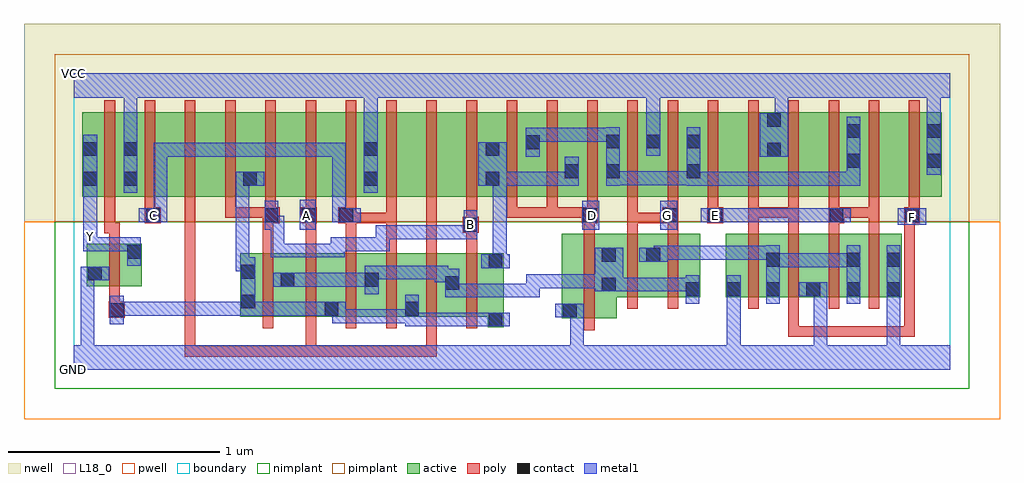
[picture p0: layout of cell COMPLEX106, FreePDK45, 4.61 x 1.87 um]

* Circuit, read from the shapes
.subckt COMPLEX106 A B C D E F G GND VCC Y
M1 Y n1 GND VSUBS nfet w=0.2u l=0.05u
M2 n2 B n1 VSUBS nfet w=0.3u l=0.05u m=2
M3 n1 A n2 VSUBS nfet w=0.3u l=0.05u m=2
M4 n2 C n1 VSUBS nfet w=0.3u l=0.05u m=2
M5 n2 D GND VSUBS nfet w=0.4u l=0.05u
M6 n3 G n2 VSUBS nfet w=0.3u l=0.05u m=2
M7 n3 F GND VSUBS nfet w=0.3u l=0.05u m=2
M8 n3 E GND VSUBS nfet w=0.3u l=0.05u m=2
M9 VCC n1 Y n4 pfet w=0.4u l=0.05u
M10 n5 C VCC n4 pfet w=0.4u l=0.05u
M11 n6 A n5 n4 pfet w=0.4u l=0.05u
M12 n1 B n6 n4 pfet w=0.4u l=0.05u
M13 n7 B n1 n4 pfet w=0.4u l=0.05u
M14 n8 A n7 n4 pfet w=0.4u l=0.05u
M15 VCC C n8 n4 pfet w=0.4u l=0.05u
M16 n9 C VCC n4 pfet w=0.4u l=0.05u
M17 n10 A n9 n4 pfet w=0.4u l=0.05u
M18 n1 B n10 n4 pfet w=0.4u l=0.05u
M19 n11 D n1 n4 pfet w=0.4u l=0.05u m=3
M20 VCC G n11 n4 pfet w=0.4u l=0.05u m=2
M21 n12 E n11 n4 pfet w=0.4u l=0.05u
M22 VCC F n12 n4 pfet w=0.4u l=0.05u
M23 n13 F VCC n4 pfet w=0.4u l=0.05u
M24 n11 E n13 n4 pfet w=0.4u l=0.05u
M25 n14 E n11 n4 pfet w=0.4u l=0.05u
M26 VCC F n14 n4 pfet w=0.4u l=0.05u
.ends

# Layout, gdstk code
import gdstk
lib = gdstk.Library(unit=1e-6, precision=1e-09)
def R(c, l, rs):  # rectangles x0, y0, x1, y1
    for r in rs: c.add(gdstk.rectangle(r[:2], r[2:], *l))
def A(c, l, x, y, w, h, nx, ny, dx, dy):  # array of equal rectangles
    R(c, l, [(x+i*dx, y+j*dy, x+i*dx+w, y+j*dy+h) for i in range(nx) for j in range(ny)])
active = (1, 0)
pwell = (2, 0)
nwell = (3, 0)
nimplant = (4, 0)
pimplant = (5, 0)
poly = (9, 0)
contact = (10, 0)
metal1 = (11, 0)
L18_0 = (18, 0)
boundary = (235, 0)

complex106 = lib.new_cell('COMPLEX106')
A(complex106, active, 1.18, 0.25, 0.265, 0.3, 3, 1, 0.19, 0)
A(complex106, active, 3.265, 0.342, 0.265, 0.3, 3, 1, 0.19, 0)
A(complex106, active, 0.455, 0.817, 0.19, 0.4, 3, 1, 0.57, 0)
R(complex106, active, [(1.955,0.2,2.03,0.55), (2.305,0.242,2.565,0.642), (2.305,0.242,2.38,0.642), (0.787,0.25,0.862,0.55), (0.787,0.25,1.047,0.55), (0.972,0.25,1.255,0.55), (1.18,0.25,1.255,0.437), (1.56,0.25,1.635,0.437), (1.75,0.25,2.03,0.55), (0.972,0.33,1.047,0.462), (1.37,0.33,1.445,0.517), (1.75,0.33,1.825,0.447), (2.49,0.342,2.775,0.642), (2.7,0.342,2.96,0.642), (2.885,0.342,2.96,0.642), (3.08,0.342,3.155,0.642), (3.08,0.342,3.34,0.642), (3.265,0.342,3.34,0.557), (3.455,0.342,3.53,0.437), (3.645,0.342,3.72,0.557), (3.835,0.342,3.91,0.642), (2.49,0.345,2.565,0.58), (2.7,0.345,2.775,0.58), (0.062,0.395,0.137,0.595), (0.062,0.395,0.322,0.595), (0.247,0.395,0.322,0.595), (0.04,0.817,0.115,1.155), (0.04,0.817,0.305,1.217), (0.23,0.817,0.305,1.217), (0.23,0.817,0.455,1.217), (0.645,0.817,0.87,1.217), (0.795,0.817,1.025,1.217), (0.795,0.817,0.87,1.07), (1.215,0.817,1.44,1.217), (1.365,0.817,1.44,1.217), (1.365,0.817,1.595,1.217), (1.785,0.817,2.015,1.217), (1.94,0.817,2.205,1.217), (1.94,0.817,2.015,1.2), (2.13,0.817,2.39,1.217), (2.13,0.817,2.205,1.155), (2.315,0.817,2.585,1.217), (2.315,0.817,2.39,1.07), (2.51,0.817,2.775,1.217), (2.51,0.817,2.585,1.2), (2.7,0.817,2.775,1.217), (2.7,0.817,2.965,1.217), (2.89,0.817,3.115,1.217), (2.89,0.817,2.965,1.155), (3.115,0.817,3.345,1.217), (3.27,0.817,3.345,1.217), (3.27,0.817,3.495,1.217), (3.495,0.817,3.72,1.217), (3.645,0.817,3.875,1.217), (3.645,0.817,3.72,1.165), (3.875,0.817,4.1,1.217), (4.025,0.817,4.1,1.217)])
R(complex106, pwell, [(-0.235,-0.235,4.375,0.7)])
R(complex106, nwell, [(-0.235,0.7,4.375,1.635)])
R(complex106, nimplant, [(-0.09,-0.09,4.23,0.7)])
R(complex106, pimplant, [(-0.09,0.7,4.23,1.49)])
A(complex106, poly, 1.095, 0.195, 0.05, 0.41, 5, 1, 0.19, 0)
A(complex106, poly, 3.185, 0.287, 0.05, 0.41, 4, 1, 0.19, 0)
A(complex106, poly, 1.095, 0.555, 0.05, 0.187, 3, 1, 0.19, 0)
A(complex106, poly, 0.715, 0.717, 0.05, 0.095, 4, 1, 0.19, 0)
A(complex106, poly, 2.045, 0.717, 0.05, 0.095, 3, 1, 0.19, 0)
A(complex106, poly, 2.805, 0.717, 0.05, 0.095, 7, 1, 0.19, 0)
A(complex106, poly, 0.145, 0.762, 0.05, 0.51, 21, 1, 0.19, 0)
R(complex106, poly, [(0.525,0.062,0.575,0.112), (0.525,0.062,0.575,0.112), (0.525,0.062,0.575,0.112), (0.525,0.062,0.575,0.112), (0.525,0.062,0.575,0.112), (0.525,0.062,0.575,0.112), (0.525,0.062,0.575,0.112), (0.525,0.062,0.575,0.112), (0.525,0.062,0.575,0.112), (0.525,0.062,0.707,0.112), (0.525,0.062,0.575,0.812), (0.657,0.062,0.707,0.112), (0.657,0.062,0.707,0.112), (0.657,0.062,0.707,0.112), (0.657,0.062,0.707,0.112), (0.657,0.062,0.707,0.112), (0.657,0.062,0.897,0.112), (0.847,0.062,0.897,0.112), (0.847,0.062,1.145,0.112), (1.095,0.062,1.145,0.112), (1.095,0.062,1.145,0.112), (1.095,0.062,1.145,0.112), (1.095,0.062,1.277,0.112), (1.095,0.062,1.145,0.245), (1.227,0.062,1.277,0.112), (1.227,0.062,1.277,0.112), (1.227,0.062,1.277,0.112), (1.227,0.062,1.467,0.112), (1.417,0.062,1.467,0.112), (1.417,0.062,1.467,0.112), (1.417,0.062,1.467,0.112), (1.417,0.062,1.715,0.112), (1.665,0.062,1.715,0.112), (1.665,0.062,1.715,0.112), (1.665,0.062,1.715,0.112), (1.665,0.062,1.715,0.245), (3.375,0.155,3.425,0.205), (3.375,0.155,3.557,0.205), (3.375,0.155,3.425,0.337), (3.507,0.155,3.557,0.205), (3.507,0.155,3.557,0.205), (3.507,0.155,3.557,0.205), (3.507,0.155,3.772,0.205), (3.722,0.155,3.772,0.205), (3.722,0.155,3.772,0.205), (3.722,0.155,3.772,0.205), (3.722,0.155,3.972,0.205), (3.922,0.155,3.972,0.205), (3.922,0.155,3.972,0.205), (3.922,0.155,3.972,0.205), (3.922,0.155,3.972,0.205), (3.922,0.155,3.972,0.205), (3.922,0.155,3.972,0.205), (3.922,0.155,3.972,0.205), (3.922,0.155,3.972,0.742), (2.41,0.187,2.46,0.697), (0.892,0.195,0.942,0.605), (0.165,0.245,0.24,0.32), (0.167,0.27,0.217,0.39), (2.615,0.287,2.665,0.697), (2.805,0.287,2.855,0.697), (0.167,0.34,0.217,0.65), (0.892,0.555,0.942,0.742), (1.665,0.555,1.715,0.767), (1.855,0.555,1.905,0.697), (0.167,0.6,0.217,0.695), (0.145,0.645,0.195,0.812), (0.145,0.645,0.217,0.695), (1.837,0.647,1.912,0.722), (2.41,0.647,2.46,0.742), (2.615,0.647,2.665,0.742), (2.805,0.647,2.855,0.742), (3.185,0.647,3.235,0.767), (3.375,0.647,3.425,0.767), (3.565,0.647,3.615,0.742), (3.755,0.647,3.805,0.767), (1.855,0.672,1.905,0.812), (0.335,0.692,0.412,0.767), (0.892,0.692,0.972,0.767), (1.072,0.692,1.147,0.767), (1.25,0.692,1.335,0.767), (1.285,0.692,1.525,0.742), (1.475,0.692,1.525,0.742), (1.475,0.692,1.525,0.742), (1.475,0.692,1.525,0.742), (1.475,0.692,1.525,0.812), (2.4,0.692,2.475,0.767), (2.615,0.692,2.665,0.742), (2.615,0.692,2.665,0.742), (2.615,0.692,2.665,0.742), (2.615,0.692,2.665,0.812), (2.615,0.692,2.83,0.742), (2.78,0.692,2.855,0.767), (2.992,0.692,3.067,0.767), (3.565,0.692,3.64,0.767), (3.922,0.692,3.972,0.742), (3.922,0.692,3.972,0.742), (3.922,0.692,3.997,0.767), (0.335,0.717,0.385,0.812), (0.715,0.717,0.765,0.767), (0.715,0.717,0.765,0.767), (0.715,0.717,0.765,0.767), (0.715,0.717,0.942,0.767), (1.665,0.717,1.715,0.812), (1.665,0.717,1.715,0.767), (2.045,0.717,2.095,0.767), (2.045,0.717,2.285,0.767), (2.235,0.717,2.285,0.767), (2.235,0.717,2.285,0.767), (2.235,0.717,2.285,0.767), (2.235,0.717,2.45,0.767), (2.4,0.717,2.45,0.767), (2.4,0.717,2.45,0.767), (3.185,0.717,3.235,0.767), (3.185,0.717,3.235,0.767), (3.185,0.717,3.235,0.767), (3.185,0.717,3.425,0.767), (3.375,0.717,3.425,0.767), (3.59,0.717,3.805,0.767), (3.755,0.717,3.805,0.767), (3.755,0.717,3.805,0.767), (3.755,0.717,3.805,0.767)])
A(complex106, contact, 3.27, 0.347, 0.065, 0.065, 4, 1, 0.19, 0)
A(complex106, contact, 2.515, 1.045, 0.065, 0.065, 3, 1, 0.19, 0)
R(complex106, contact, [(1.96,0.205,2.025,0.27), (2.31,0.247,2.375,0.312), (0.17,0.25,0.235,0.315), (1.185,0.255,1.25,0.32), (1.565,0.255,1.63,0.32), (0.792,0.29,0.857,0.355), (2.89,0.347,2.955,0.412), (3.085,0.347,3.15,0.412), (2.495,0.37,2.56,0.435), (1.755,0.377,1.82,0.442), (0.977,0.392,1.042,0.457), (1.375,0.392,1.44,0.457), (0.067,0.422,0.132,0.487), (0.792,0.43,0.857,0.495), (1.96,0.48,2.025,0.545), (3.27,0.487,3.335,0.552), (3.65,0.487,3.715,0.552), (3.84,0.487,3.905,0.552), (2.495,0.51,2.56,0.575), (2.705,0.51,2.77,0.575), (0.252,0.525,0.317,0.59), (1.842,0.652,1.907,0.717), (0.342,0.697,0.407,0.762), (0.902,0.697,0.967,0.762), (1.077,0.697,1.142,0.762), (1.255,0.697,1.32,0.762), (2.405,0.697,2.47,0.762), (2.785,0.697,2.85,0.762), (2.997,0.697,3.062,0.762), (3.57,0.697,3.635,0.762), (3.927,0.697,3.992,0.762), (0.045,0.87,0.11,0.935), (0.235,0.87,0.3,0.935), (0.8,0.87,0.865,0.935), (1.37,0.87,1.435,0.935), (1.945,0.87,2.01,0.935), (2.32,0.905,2.385,0.97), (2.515,0.905,2.58,0.97), (2.895,0.905,2.96,0.97), (3.65,0.955,3.715,1.02), (4.03,0.955,4.095,1.02), (3.275,1.007,3.34,1.072), (0.045,1.01,0.11,1.075), (0.235,1.01,0.3,1.075), (1.37,1.01,1.435,1.075), (1.945,1.01,2.01,1.075), (2.135,1.042,2.2,1.107), (3.65,1.095,3.715,1.16), (4.03,1.095,4.095,1.16), (3.275,1.147,3.34,1.212)])
R(complex106, metal1, [(0,0,4.14,0.115), (0.032,0.05,0.097,0.115), (0.032,0.05,0.097,0.115), (0.032,0.05,0.097,0.115), (0.032,0.05,0.097,0.115), (0.032,0.05,0.097,0.487), (2.345,0.05,2.41,0.115), (2.345,0.05,2.41,0.115), (2.345,0.05,2.41,0.312), (3.085,0.05,3.15,0.115), (3.085,0.05,3.15,0.115), (3.085,0.05,3.15,0.115), (3.085,0.05,3.15,0.115), (3.085,0.05,3.15,0.377), (3.495,0.05,3.56,0.115), (3.495,0.05,3.56,0.115), (3.495,0.05,3.56,0.115), (3.495,0.05,3.56,0.115), (3.495,0.05,3.56,0.412), (3.84,0.05,3.905,0.377), (1.565,0.205,1.77,0.27), (1.565,0.205,1.63,0.355), (1.705,0.205,1.77,0.27), (1.705,0.205,1.77,0.27), (1.705,0.205,1.77,0.27), (1.705,0.205,1.99,0.27), (1.925,0.205,1.99,0.27), (1.925,0.205,1.99,0.27), (1.925,0.205,2.06,0.27), (0.17,0.215,0.235,0.35), (1.22,0.22,1.492,0.285), (1.22,0.22,1.285,0.32), (1.427,0.22,1.492,0.285), (1.427,0.22,1.492,0.285), (1.427,0.22,1.492,0.285), (1.427,0.22,1.63,0.285), (2.275,0.247,2.41,0.312), (0.17,0.255,0.305,0.32), (0.24,0.255,0.305,0.32), (0.24,0.255,0.442,0.32), (0.377,0.255,0.442,0.32), (0.377,0.255,0.442,0.32), (0.377,0.255,0.442,0.32), (0.377,0.255,0.58,0.32), (0.515,0.255,0.58,0.32), (0.515,0.255,0.58,0.32), (0.515,0.255,0.58,0.32), (0.515,0.255,0.72,0.32), (0.655,0.255,0.72,0.32), (0.655,0.255,0.857,0.32), (0.792,0.255,0.857,0.53), (0.792,0.255,0.857,0.32), (0.792,0.255,0.857,0.32), (0.792,0.255,0.995,0.32), (0.93,0.255,0.995,0.32), (0.93,0.255,1.142,0.32), (1.077,0.255,1.142,0.32), (1.077,0.255,1.215,0.32), (1.15,0.255,1.285,0.32), (1.22,0.255,1.285,0.32), (2.89,0.312,2.955,0.447), (3.085,0.312,3.15,0.447), (3.27,0.312,3.335,0.587), (3.65,0.312,3.715,0.587), (3.84,0.312,3.905,0.587), (3.84,0.312,3.905,0.377), (3.84,0.312,3.905,0.377), (3.84,0.312,3.905,0.377), (3.84,0.312,3.905,0.377), (1.755,0.342,1.82,0.477), (1.755,0.342,1.99,0.407), (1.925,0.342,1.99,0.407), (1.925,0.342,1.99,0.407), (1.925,0.342,1.99,0.407), (1.925,0.342,2.127,0.407), (2.062,0.342,2.127,0.407), (2.062,0.342,2.202,0.407), (2.137,0.342,2.202,0.407), (2.137,0.342,2.202,0.407), (2.137,0.342,2.202,0.45), (3.425,0.347,3.56,0.412), (1.375,0.357,1.44,0.492), (2.46,0.37,2.595,0.575), (2.53,0.37,2.595,0.435), (2.53,0.37,2.595,0.435), (2.53,0.37,2.732,0.435), (2.667,0.37,2.732,0.435), (2.667,0.37,2.732,0.435), (2.667,0.37,2.732,0.435), (2.667,0.37,2.955,0.435), (2.137,0.385,2.32,0.45), (2.255,0.385,2.32,0.45), (2.255,0.385,2.387,0.45), (2.322,0.385,2.387,0.45), (2.322,0.385,2.457,0.45), (2.392,0.385,2.457,0.45), (2.392,0.385,2.525,0.45), (0.942,0.392,1.077,0.457), (1.012,0.392,1.142,0.457), (1.077,0.392,1.142,0.457), (1.077,0.392,1.28,0.457), (1.215,0.392,1.28,0.457), (1.215,0.392,1.28,0.457), (1.215,0.392,1.28,0.457), (1.215,0.392,1.44,0.457), (1.705,0.412,1.82,0.477), (1.705,0.412,1.77,0.492), (0.032,0.422,0.097,0.487), (0.032,0.422,0.097,0.487), (0.032,0.422,0.167,0.487), (1.375,0.427,1.63,0.492), (1.565,0.427,1.63,0.492), (1.565,0.427,1.63,0.492), (1.565,0.427,1.63,0.492), (1.565,0.427,1.77,0.492), (0.765,0.465,0.83,0.935), (0.765,0.465,0.857,0.53), (0.792,0.465,0.857,0.53), (1.925,0.48,2.06,0.545), (1.98,0.48,2.045,0.935), (3.27,0.485,3.462,0.55), (3.397,0.485,3.462,0.55), (3.397,0.485,3.577,0.55), (3.512,0.485,3.577,0.55), (3.512,0.485,3.715,0.55), (3.65,0.485,3.715,0.55), (3.65,0.485,3.715,0.55), (0.252,0.49,0.317,0.625), (2.67,0.51,2.805,0.575), (2.74,0.51,2.805,0.575), (2.74,0.51,2.805,0.585), (2.74,0.52,2.942,0.585), (2.877,0.52,2.942,0.585), (2.877,0.52,2.942,0.585), (2.877,0.52,2.942,0.585), (2.877,0.52,3.097,0.585), (3.032,0.52,3.097,0.585), (3.032,0.52,3.325,0.585), (3.26,0.52,3.325,0.585), (3.26,0.52,3.335,0.585), (0.93,0.53,0.995,0.595), (0.93,0.53,1.132,0.595), (0.93,0.53,0.995,0.727), (1.067,0.53,1.132,0.595), (1.067,0.53,1.28,0.595), (1.215,0.53,1.28,0.595), (1.215,0.53,1.28,0.595), (1.215,0.53,1.28,0.625), (0.045,0.56,0.112,0.697), (0.047,0.56,0.112,0.625), (0.047,0.56,0.112,0.625), (0.047,0.56,0.112,0.625), (0.047,0.56,0.112,0.625), (0.047,0.56,0.317,0.625), (1.215,0.56,1.492,0.625), (1.427,0.56,1.492,0.662), (1.427,0.597,1.492,0.662), (1.427,0.597,1.492,0.682), (1.427,0.617,1.492,0.682), (1.427,0.617,1.492,0.682), (1.427,0.617,1.63,0.682), (1.565,0.617,1.63,0.682), (1.565,0.617,1.767,0.682), (1.702,0.617,1.767,0.682), (1.702,0.617,1.837,0.682), (1.772,0.617,1.837,0.682), (1.772,0.617,1.907,0.682), (1.842,0.617,1.907,0.752), (0.045,0.632,0.11,0.9), (0.902,0.662,0.967,0.797), (0.902,0.662,0.995,0.727), (0.93,0.662,0.995,0.727), (1.067,0.662,1.142,0.802), (2.402,0.662,2.482,0.797), (2.77,0.662,2.85,0.797), (3.892,0.685,4.027,0.762), (0.307,0.697,0.442,0.762), (0.377,0.697,0.442,0.762), (0.377,0.697,0.442,0.762), (0.377,0.697,0.442,0.762), (0.377,0.697,0.442,0.762), (0.377,0.697,0.442,1.072), (1.22,0.697,1.285,0.762), (1.22,0.697,1.285,0.762), (1.22,0.697,1.355,0.762), (1.22,0.697,1.285,1.072), (2.962,0.697,3.097,0.762), (3.032,0.697,3.097,0.762), (3.032,0.697,3.097,0.762), (3.032,0.697,3.325,0.762), (3.26,0.697,3.325,0.762), (3.26,0.697,3.325,0.762), (3.26,0.697,3.325,0.762), (3.26,0.697,3.462,0.762), (3.397,0.697,3.462,0.762), (3.397,0.697,3.472,0.762), (3.407,0.697,3.472,0.762), (3.407,0.697,3.6,0.762), (3.535,0.697,3.67,0.762), (0.045,0.835,0.11,1.11), (0.235,0.835,0.3,1.11), (1.37,0.835,1.435,1.11), (0.765,0.87,0.83,0.935), (0.765,0.87,0.83,0.935), (0.765,0.87,0.83,0.935), (0.765,0.87,0.83,0.935), (0.765,0.87,0.9,0.935), (1.91,0.87,2.045,1.075), (1.98,0.87,2.045,0.935), (1.98,0.87,2.045,0.935), (1.98,0.87,2.182,0.935), (2.117,0.87,2.182,0.935), (2.117,0.87,2.182,0.935), (2.117,0.87,2.182,0.935), (2.117,0.87,2.32,0.935), (2.255,0.87,2.32,0.935), (2.255,0.87,2.385,0.935), (2.32,0.87,2.385,1.005), (2.515,0.87,2.58,1.145), (2.895,0.87,2.96,1.145), (2.895,0.87,2.96,0.935), (2.895,0.87,2.96,0.935), (2.895,0.87,3.097,0.935), (3.032,0.87,3.097,0.935), (3.032,0.87,3.235,0.935), (3.17,0.87,3.235,0.935), (3.17,0.87,3.235,0.935), (3.17,0.87,3.235,0.935), (3.17,0.87,3.462,0.935), (3.397,0.87,3.462,0.935), (3.397,0.87,3.577,0.935), (3.512,0.87,3.577,0.935), (3.512,0.87,3.715,0.935), (3.65,0.87,3.715,0.985), (2.515,0.872,2.595,0.937), (2.53,0.872,2.595,0.937), (2.53,0.872,2.732,0.937), (2.667,0.872,2.732,0.937), (2.667,0.872,2.732,0.937), (2.667,0.872,2.732,0.937), (2.667,0.872,2.96,0.937), (3.65,0.92,3.715,1.195), (3.65,0.92,3.715,0.985), (4.03,0.92,4.095,1.195), (0.377,1.007,0.442,1.072), (0.377,1.007,0.58,1.072), (0.515,1.007,0.58,1.072), (0.515,1.007,0.58,1.072), (0.515,1.007,0.58,1.072), (0.515,1.007,0.72,1.072), (0.655,1.007,0.72,1.072), (0.655,1.007,0.72,1.072), (0.655,1.007,0.72,1.072), (0.655,1.007,0.995,1.072), (0.93,1.007,0.995,1.072), (0.93,1.007,1.037,1.072), (0.972,1.007,1.037,1.072), (0.972,1.007,1.037,1.072), (0.972,1.007,1.037,1.072), (0.972,1.007,1.142,1.072), (1.077,1.007,1.142,1.072), (1.077,1.007,1.285,1.072), (1.22,1.007,1.285,1.072), (2.135,1.007,2.2,1.142), (3.24,1.007,3.375,1.212), (2.705,1.01,2.77,1.145), (0.235,1.045,0.3,1.35), (1.37,1.045,1.435,1.35), (2.135,1.077,2.32,1.142), (2.255,1.077,2.32,1.142), (2.255,1.077,2.34,1.142), (2.275,1.077,2.34,1.142), (2.275,1.077,2.457,1.142), (2.392,1.077,2.457,1.142), (2.392,1.077,2.58,1.142), (2.705,1.08,2.77,1.35), (4.03,1.13,4.095,1.35), (3.31,1.147,3.375,1.35), (0,1.285,4.14,1.4)])
R(complex106, L18_0, [(0,0,4.14,0.115), (0.032,0.05,0.097,0.115), (0.032,0.05,0.097,0.115), (0.032,0.05,0.097,0.115), (0.032,0.05,0.097,0.115), (0.032,0.05,0.097,0.487), (2.345,0.05,2.41,0.115), (2.345,0.05,2.41,0.115), (2.345,0.05,2.41,0.312), (3.085,0.05,3.15,0.115), (3.085,0.05,3.15,0.115), (3.085,0.05,3.15,0.115), (3.085,0.05,3.15,0.115), (3.085,0.05,3.15,0.377), (3.495,0.05,3.56,0.115), (3.495,0.05,3.56,0.115), (3.495,0.05,3.56,0.115), (3.495,0.05,3.56,0.115), (3.495,0.05,3.56,0.412), (3.84,0.05,3.905,0.377), (2.275,0.247,2.41,0.312), (3.085,0.312,3.15,0.447), (3.84,0.312,3.905,0.377), (3.84,0.312,3.905,0.377), (3.84,0.312,3.905,0.377), (3.84,0.312,3.905,0.377), (3.84,0.312,3.905,0.587), (3.425,0.347,3.56,0.412), (0.032,0.422,0.097,0.487), (0.032,0.422,0.097,0.487), (0.032,0.422,0.167,0.487), (0.252,0.49,0.317,0.625), (0.93,0.53,0.995,0.595), (0.93,0.53,0.995,0.727), (0.93,0.53,1.132,0.595), (1.067,0.53,1.132,0.595), (1.067,0.53,1.28,0.595), (1.215,0.53,1.28,0.595), (1.215,0.53,1.28,0.595), (1.215,0.53,1.28,0.625), (0.045,0.56,0.112,0.697), (0.047,0.56,0.112,0.625), (0.047,0.56,0.112,0.625), (0.047,0.56,0.112,0.625), (0.047,0.56,0.112,0.625), (0.047,0.56,0.317,0.625), (1.215,0.56,1.492,0.625), (1.427,0.56,1.492,0.662), (0.047,0.597,0.112,0.662), (1.427,0.597,1.492,0.662), (1.427,0.597,1.492,0.682), (1.427,0.617,1.492,0.682), (1.427,0.617,1.492,0.682), (1.427,0.617,1.63,0.682), (1.565,0.617,1.63,0.682), (1.565,0.617,1.767,0.682), (1.702,0.617,1.767,0.682), (1.702,0.617,1.837,0.682), (1.772,0.617,1.837,0.682), (1.772,0.617,1.907,0.682), (1.842,0.617,1.907,0.752), (0.045,0.632,0.11,0.9), (1.842,0.652,1.907,0.717), (0.902,0.662,0.967,0.797), (0.902,0.662,0.995,0.727), (0.93,0.662,0.995,0.727), (1.067,0.662,1.142,0.802), (2.402,0.662,2.482,0.797), (2.77,0.662,2.85,0.797), (3.892,0.685,4.027,0.762), (3.927,0.687,3.992,0.752), (0.307,0.697,0.442,0.762), (0.342,0.697,0.407,0.762), (0.377,0.697,0.442,0.762), (0.377,0.697,0.442,0.762), (0.377,0.697,0.442,0.762), (0.377,0.697,0.442,0.762), (0.377,0.697,0.442,1.072), (1.067,0.697,1.132,0.762), (1.22,0.697,1.285,0.762), (1.22,0.697,1.285,0.762), (1.22,0.697,1.355,0.762), (1.22,0.697,1.285,1.072), (2.417,0.697,2.482,0.762), (2.772,0.697,2.837,0.762), (2.962,0.697,3.097,0.762), (2.997,0.697,3.062,0.762), (3.032,0.697,3.097,0.762), (3.032,0.697,3.097,0.762), (3.032,0.697,3.325,0.762), (3.26,0.697,3.325,0.762), (3.26,0.697,3.325,0.762), (3.26,0.697,3.325,0.762), (3.26,0.697,3.462,0.762), (3.397,0.697,3.462,0.762), (3.397,0.697,3.472,0.762), (3.407,0.697,3.472,0.762), (3.407,0.697,3.6,0.762), (3.535,0.697,3.67,0.762), (0.045,0.835,0.11,1.11), (0.235,0.835,0.3,1.11), (1.37,0.835,1.435,1.11), (4.03,0.92,4.095,1.195), (0.377,1.007,0.442,1.072), (0.377,1.007,0.58,1.072), (0.515,1.007,0.58,1.072), (0.515,1.007,0.58,1.072), (0.515,1.007,0.58,1.072), (0.515,1.007,0.72,1.072), (0.655,1.007,0.72,1.072), (0.655,1.007,0.72,1.072), (0.655,1.007,0.72,1.072), (0.655,1.007,0.995,1.072), (0.93,1.007,0.995,1.072), (0.93,1.007,1.037,1.072), (0.972,1.007,1.037,1.072), (0.972,1.007,1.037,1.072), (0.972,1.007,1.037,1.072), (0.972,1.007,1.142,1.072), (1.077,1.007,1.142,1.072), (1.077,1.007,1.285,1.072), (1.22,1.007,1.285,1.072), (3.24,1.007,3.375,1.212), (2.705,1.01,2.77,1.145), (0.235,1.045,0.3,1.35), (1.37,1.045,1.435,1.35), (2.705,1.08,2.77,1.35), (4.03,1.13,4.095,1.35), (3.31,1.147,3.375,1.35), (0,1.285,4.14,1.4)])
R(complex106, boundary, [(0,0,4.14,1.4)])
complex106.add(gdstk.Label('A', (1.1,0.73), layer=11, texttype=0))
complex106.add(gdstk.Label('B', (1.875,0.685), layer=11, texttype=0))
complex106.add(gdstk.Label('C', (0.375,0.73), layer=11, texttype=0))
complex106.add(gdstk.Label('D', (2.45,0.73), layer=11, texttype=0))
complex106.add(gdstk.Label('E', (3.03,0.73), layer=11, texttype=0))
complex106.add(gdstk.Label('F', (3.96,0.72), layer=11, texttype=0))
complex106.add(gdstk.Label('G', (2.805,0.73), layer=11, texttype=0))
complex106.add(gdstk.Label('Y', (0.08,0.63), layer=11, texttype=0))
complex106.add(gdstk.Label('VCC', (0,1.4), layer=11, texttype=0))
complex106.add(gdstk.Label('GND', (0,0), layer=11, texttype=0))

lib.write_gds('COMPLEX106.gds')
